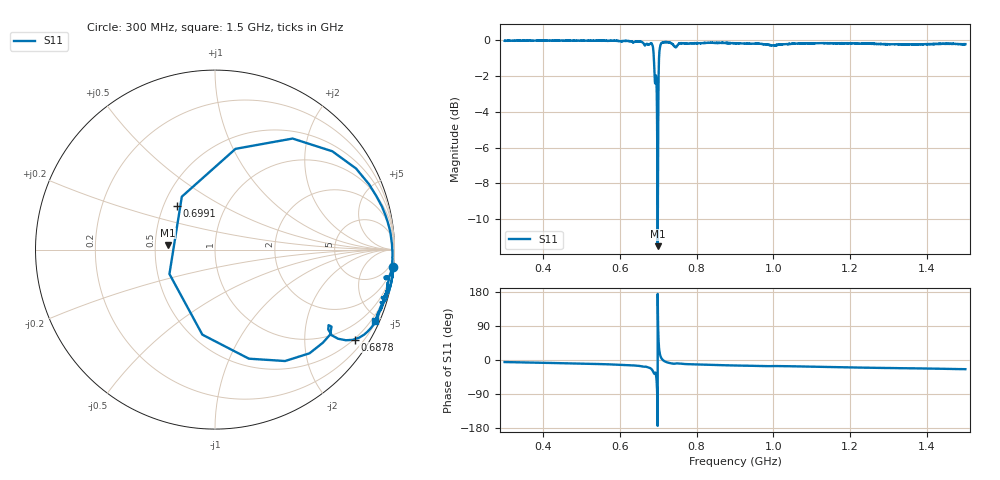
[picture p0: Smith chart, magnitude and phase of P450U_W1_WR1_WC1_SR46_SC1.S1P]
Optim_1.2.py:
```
#!/usr/bin/env python3
# -*- coding: utf-8 -*-
"""
Created on Wed Aug 10 14:51:48 2022

@author: hedinyer
"""
#####################################################
# import libraries
#####################################################


#non-importan libs
#####################################
import numpy as np                    #-> turn python into a "matlab"
import matplotlib.pyplot as plt       #-> plot lib            
from scipy.signal import find_peaks   #-> very importan to find peaks in COM signal
import math                           #-> mathematical tool
import skrf as rf                     #-> important library to load .s2p data
#####################################


#optimization libs
#####################################
from scipy.integrate import odeint
import scipy.optimize as ot
from scipy.optimize import minimize
from scipy import optimize
#####################################

#to ignore warnings
#####################################
import warnings
warnings.filterwarnings('ignore')
#####################################

######################################################
######################################################



def Ultra_Optim(j):
    #0-define the global vars
    ######################################

    global geo
    global x1
    global cut_array
    global cut_f
    global freq_vect
    
    
    #1-import the data into ntwk variable
    #####################################

    ntwk = rf.Network('/home/hedinyer/Documents/python_germany/optimization/optinization_1/Com_Optimization_py/P450U_W1_WR1_WC1_SR46_SC1.S1P')

    #2-and now with the loaded data it's possible to 
    #  asign it into multiple variables like the frecuency and 
    #  the real and imag values
    #####################################

    s_r = ntwk.y.real      #<--- only real values
    s_i = ntwk.y.imag      #<--- only imag values
    s_t = ntwk.y           #<--- the real and the imag values

    #3-use reshape to fix the matrix to work with them
    #####################################

    s_r = s_r.reshape(-1)  
    s_i = s_i.reshape(-1)
    s_t = s_t.reshape(-1)
    #3.1-turn into numpy array
    ##########################

    s_r = np.array(s_r)
    s_i = np.array(s_i)
    s_t = np.array(s_t)

    #4-get the frecuency
    #####################################

    f = ntwk.f

    
    #6-find peaks of signal
    ######################################

    peak, z = find_peaks(s_t, height=0.011) #<--- with height you can take the desired peak
    n = z['peak_heights']
    m = f[peak]
    
    #7-cut the region of interes
    #######################################


    #7.1-find nearest function
    ##########################
    def find_nearest(array, value):
        array = np.asarray(array)
        idx = (np.abs(array - value)).argmin()
        return array[idx]
    ##########################

    upper_region_array =  m[0]*j[0]/100 + m[0]
    lower_region_array = -m[0]*j[1]/100 + m[0]

    upper_region_array = find_nearest(f, value=upper_region_array)
    lower_region_array = find_nearest(f, value=lower_region_array)

    upper_region_array = np.where(f == upper_region_array)
    lower_region_array = np.where(f == lower_region_array)

    upper_region_array = list(upper_region_array[0])
    lower_region_array = list(lower_region_array[0])

    upper_region_array = upper_region_array[0]
    lower_region_array = lower_region_array[0]

    iterion_numer = upper_region_array - lower_region_array
    int_iterarion_number = int(iterion_numer)
    int_lower_region_array = int(lower_region_array)

    cut_array = []
    cut_f = []

    cut_array2 = []
    cut_f2 = []
    
    #7.2-to total region
    ##########################

    for i in range (int_iterarion_number):
        cut_array.append(s_t[i + int_lower_region_array])
        cut_f.append(f[i + int_lower_region_array])

    #7.3-to imag region
    ##########################

    for i in range (int_iterarion_number):
        cut_array2.append(s_i[i + int_lower_region_array])
        cut_f2.append(f[i + int_lower_region_array])
        
        
    #7.4-plot the cut region (total)
    ##########################

    cut_f = np.array(cut_f)
    cut_array = np.array(cut_array)
    
    
    cut_f2 = np.array(cut_f2)
    cut_array2 = np.array(cut_array2)
    
    
    #8-define the geometry of com model
    ###########################

    geom_p        = 1.05e-6
    geom_numf     = 401
    geom_numgra   = 25
    geom_aperture = 15.75
    freq_vect = cut_f
    geo = [geom_p, geom_numf, geom_numgra, geom_aperture]
    
    
    #9-define the model
    ###########################

    def Com_Model(x):
        M_const = 1
        atan_squishFactor = 10
        pi = math.pi
        K11        = 0;
        K12        = x[0];
        Zeta       = x[1];
        Gamma_1    = x[2];
        Gamma_2    = x[3];
        Vs         = x[4];
        R_parallel = x[5];
        C          = x[6];
        
        p= geo[0]
        
        ResonanceEstimate = (Vs*(-K12 + pi/p))/(2*pi)
        AntiresonanceEstimate = ((Vs*(K12 + pi/p))/(2*pi))
        
        # Precalculate 
        rfl_length = p*geo[2];
        rfl_idt_gap = 0;
        idt_length = p*geo[1];
        
        
        omega = 2 * pi * freq_vect
        vref =  Vs/ (1 - (K11 * p / (M_const * pi)))
        
        gamma_freq = 0.5 * (Gamma_1 + Gamma_2) +((Gamma_2 - Gamma_1)) / pi * np.arctan(atan_squishFactor * (freq_vect - (AntiresonanceEstimate + ResonanceEstimate) / 2) / (AntiresonanceEstimate - ResonanceEstimate))

        theta_u = omega / vref - M_const * (pi / p) + K11 - 1j * gamma_freq
        
        theta_p1 = -(np.sqrt((theta_u)**2) - abs(K12)**2)
        theta_p2 = 1j * (np.sqrt(abs(K12)**2 - (theta_u)**2))
        theta_p3 = np.sqrt((theta_u)**2 - abs(K12)**2)
        
        is_theta_p1_true = (theta_u < -abs(K12))
        is_theta_p2_true = (abs(theta_u) < abs(K12))
        
        is_theta_p1_true = is_theta_p1_true.astype(int)
        is_theta_p2_true = is_theta_p2_true.astype(int)
        
        
        is_theta_p3_true = np.ones(len(is_theta_p1_true)) - is_theta_p1_true - is_theta_p2_true

        theta_p = theta_p1 * is_theta_p1_true + theta_p2 * is_theta_p2_true + theta_p3 * is_theta_p3_true
        
        gamma_plus = (theta_p - theta_u) / K12

        gamma_zero = gamma_plus
     
        exprval = np.exp(-2j * theta_p * rfl_length)
        gamma = gamma_zero * ((1 - exprval) / (1 - (gamma_zero**2) * exprval))
        
        
        BETA = 1
        gamma_t = gamma * np.exp(-2j * BETA * rfl_idt_gap)

        P1 = 1j * Zeta**2 * idt_length / (theta_u + K12)

        P2 = 2 / (theta_p * idt_length)

        P3_r = 1/np.tan(theta_p * idt_length * 0.5);

        P3_i = ((1 + gamma_t) * (1 - gamma_zero)) / ((1 - gamma_t) * (1 + gamma_zero))

        P4 = 1j * omega * C * idt_length

        P3 = P3_r + 1j * P3_i
        
        # #  COM model admittance
        Y_no_parasite= (P1 * ((P2 * P3** - 1) -1) + P4); 
        Y_total = (Y_no_parasite**(-1) + R_parallel)**(-1);
        
        ares_Z,ares_idx = max(np.log(abs(1/cut_array))), np.argmax(np.log(abs(1/cut_array)))
        res_Y,res_idx   = max(np.log(abs(cut_array)))  , np.argmax(np.log(abs(cut_array)))
        
        YZ_offset = ares_Z - res_Y
        
        YZ_win = np.zeros(len(cut_array))
        YZ_win[round((res_idx + ares_idx)/2):round((3*ares_idx)/2 - res_idx/2)] = 1
        
        
        def hybrid_log_abs_YZ(Y_in, YZ_win, YZ_offset):
            result = (np.log(abs(Y_in))*(1 - YZ_win) + (np.log(abs(1/Y_in)) - YZ_offset)*YZ_win)
            return result
        
        
        valor1 = hybrid_log_abs_YZ(Y_total, YZ_win, YZ_offset) - hybrid_log_abs_YZ(cut_array, YZ_win, YZ_offset)
        valor2 = np.log(abs((Y_total.real))) - np.log(abs(cut_array.real))
        
        valor1[np.isnan(valor1)] = 0
        valor2[np.isnan(valor2)] = 0
        
        valor1 = valor1**2
        valor2 = valor2**2
        
        result = np.concatenate((valor2, valor1))
        result = sum(result)
        
        
        return result
    
    
    #init guess from matlab
    K11 = 2000;
    K12 = 120000;
    Zeta = 3500; 
    Gamma_1 = 3;
    Gamma_2 = 500;
    Vs = 3700;
    R_ser = 0.2;
    C = 1e-08;
    
    #second x0
    x0 = np.array([K12,Zeta,Gamma_1,Gamma_2,Vs,R_ser,C])
    # Bounds for the 2 principal models
    bnds = ((0.1, j[2]), (0.1, j[3]), (0.1,j[4]), (0.1,j[5]), (0.1,j[6]), (0.1,j[7]) ,(1e-15,j[8]))

    res = minimize(Com_Model,x0,method='Nelder-Mead', tol=1e-6, bounds=(bnds))
    cost_fuc2_val = Com_Model(res.x)
    print(res.x,'\n')
    print(cost_fuc2_val,'\n')
    
    #9-define the model
    ###########################

    def Com_Model2(x):
        M_const = 1
        atan_squishFactor = 10
        pi = math.pi
        K11        = 0;
        K12        = x[0];
        Zeta       = x[1];
        Gamma_1    = x[2];
        Gamma_2    = x[3];
        Vs         = x[4];
        R_parallel = x[5];
        C          = x[6];
        
        p= geo[0]
        
        ResonanceEstimate = (Vs*(-K12 + pi/p))/(2*pi)
        AntiresonanceEstimate = ((Vs*(K12 + pi/p))/(2*pi))
        
        # Precalculate 
        rfl_length = p*geo[2];
        rfl_idt_gap = 0;
        idt_length = p*geo[1];
        
        
        omega = 2 * pi * freq_vect
        vref =  Vs/ (1 - (K11 * p / (M_const * pi)))
        
        gamma_freq = 0.5 * (Gamma_1 + Gamma_2) +((Gamma_2 - Gamma_1)) / pi * np.arctan(atan_squishFactor * (freq_vect - (AntiresonanceEstimate + ResonanceEstimate) / 2) / (AntiresonanceEstimate - ResonanceEstimate))

        theta_u = omega / vref - M_const * (pi / p) + K11 - 1j * gamma_freq
        
        theta_p1 = -(np.sqrt((theta_u)**2) - abs(K12)**2)
        theta_p2 = 1j * (np.sqrt(abs(K12)**2 - (theta_u)**2))
        theta_p3 = np.sqrt((theta_u)**2 - abs(K12)**2)
        
        is_theta_p1_true = (theta_u < -abs(K12))
        is_theta_p2_true = (abs(theta_u) < abs(K12))
        
        is_theta_p1_true = is_theta_p1_true.astype(int)
        is_theta_p2_true = is_theta_p2_true.astype(int)
        
        
        is_theta_p3_true = np.ones(len(is_theta_p1_true)) - is_theta_p1_true - is_theta_p2_true

        theta_p = theta_p1 * is_theta_p1_true + theta_p2 * is_theta_p2_true + theta_p3 * is_theta_p3_true
        
        gamma_plus = (theta_p - theta_u) / K12

        gamma_zero = gamma_plus
     
        exprval = np.exp(-2j * theta_p * rfl_length)
        gamma = gamma_zero * ((1 - exprval) / (1 - (gamma_zero**2) * exprval))
        
        
        BETA = 1
        gamma_t = gamma * np.exp(-2j * BETA * rfl_idt_gap)

        P1 = 1j * Zeta**2 * idt_length / (theta_u + K12)

        P2 = 2 / (theta_p * idt_length)

        P3_r = 1/np.tan(theta_p * idt_length * 0.5);

        P3_i = ((1 + gamma_t) * (1 - gamma_zero)) / ((1 - gamma_t) * (1 + gamma_zero))

        P4 = 1j * omega * C * idt_length

        P3 = P3_r + 1j * P3_i
        
        # #  COM model admittance
        Y_no_parasite= (P1 * ((P2 * P3** - 1) -1) + P4); 
        Y_total = (Y_no_parasite**(-1) + R_parallel)**(-1);
        return Y_total
    
    vector = Com_Model2(res.x)
    
    plt.plot(cut_f,cut_array.imag)
    plt.plot(cut_f,vector.imag,"--")
    plt.legend(["Exp","Sym"])
    plt.show()

    
    
    return cost_fuc2_val

   

x0=[5,5,1000,1000,1000,1000,1000,0.2,1e-5]
bnds=((1.5,12),(1.5,12),(0.1,5000),(0.1,5000),(0.1,5000),(0.1,5000),(0.1,5000),(0.1,0.4),(1e-15,1e-1))
res2 = minimize(Ultra_Optim,x0,method='Nelder-Mead', bounds=(bnds),options={'maxfev':300})
print(res2.x)

res3 = minimize(Ultra_Optim,res2.x,method='Nelder-Mead', bounds=(bnds),options={'maxfev':300})
print(res3.x)

res4 = minimize(Ultra_Optim,res3.x,method='Nelder-Mead', bounds=(bnds),options={'maxfev':300})
print(res4.x)
```
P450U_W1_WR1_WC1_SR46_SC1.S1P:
#  HZ  S  RI  R  50.00
! Rohde & Schwarz Vector Network Analyzer
! Rohde-Schwarz,ZNB8-4Port,1311601044103452,2.94
! Created: UTC 2/23/2022, 10:45:34 AM
! freq[Hz]  re:S11  im:S11
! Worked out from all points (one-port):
!   12001 points, 300 MHz to 1.5 GHz, reference 50 ohm
!   lowest |S11| = -11.5 dB at 698.7 MHz (marker M1), VSWR 1.72, Z = 29 + j1.64 ohm
!   |S11| at or under -10 dB: 698.2488 MHz to 699.0691 MHz (820.2 kHz wide, 0.117 % of centre)
!   S11 on the Smith chart (normalised r, x): 300 MHz: 0, -21; 687.8 MHz: 0.48, -3.33; 699.1 MHz: 0.59, +0.32; 1.5 GHz: 0.27, -4.65
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3e8  0.9933 -0.0947
6.488e8  0.9585 -0.2632
6.878e8  0.7776 -0.5013
6.926e8  0.6455 -0.4234
6.95e8  0.5502 -0.5624
6.987e8  -0.2645 0.0262
6.991e8  -0.2108 0.2455
7e8  0.1145 0.5614
7.048e8  0.9305 0.239
7.076e8  0.9749 0.1052
7.133e8  0.9887 -0.0197
7.712e8  0.9628 -0.184
1.1e9  0.9361 -0.2962
1.5e9  0.8906 -0.4004
